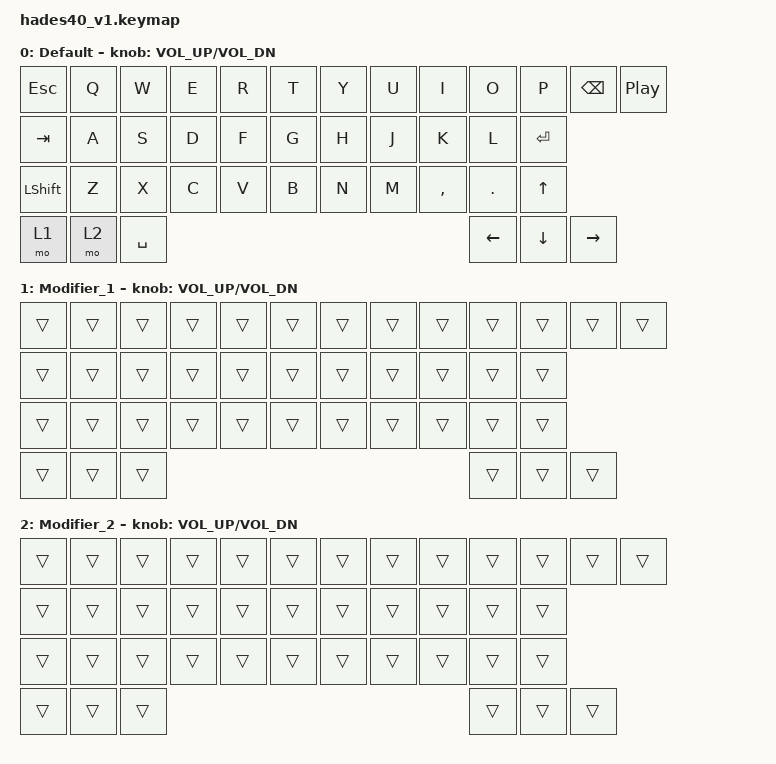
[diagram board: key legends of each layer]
/*
 * Copyright (c) 2020 The ZMK Contributors
 *
 * SPDX-License-Identifier: MIT
 */
/* THIS FILE WAS GENERATED!
 *
 * This file was generated automatically. You may or may not want to
 * edit it directly.
 */

#include <behaviors.dtsi>
#include <dt-bindings/zmk/keys.h>

/ {
    keymap {
        compatible = "zmk,keymap";

        Default {
            bindings = <
   &kp ESC   &kp Q   &kp W   &kp E   &kp R      &kp T   &kp Y   &kp U      &kp I    &kp O      &kp P   &kp BSPC  &kp C_PLAY_PAUSE
   &kp TAB   &kp A   &kp S   &kp D   &kp F      &kp G   &kp H   &kp J      &kp K    &kp L  &kp ENTER
 &kp LSHFT   &kp Z   &kp X   &kp C   &kp V      &kp B   &kp N   &kp M  &kp COMMA  &kp DOT     &kp UP
     &mo 1   &mo 2                          &kp SPACE                   &kp LEFT            &kp DOWN  &kp RIGHT
            >;

            sensor-bindings = <&inc_dec_kp C_VOL_UP C_VOL_DN>;
        };

        Modifier_1 {
            bindings = <
 &trans  &trans  &trans  &trans  &trans  &trans  &trans  &trans  &trans  &trans  &trans  &trans  &trans
 &trans  &trans  &trans  &trans  &trans  &trans  &trans  &trans  &trans  &trans  &trans
 &trans  &trans  &trans  &trans  &trans  &trans  &trans  &trans  &trans  &trans  &trans
 &trans  &trans                          &trans                  &trans          &trans  &trans
            >;

            sensor-bindings = <&inc_dec_kp C_VOL_UP C_VOL_DN>;
        };

        Modifier_2 {
            bindings = <
 &trans  &trans  &trans  &trans  &trans  &trans  &trans  &trans  &trans  &trans  &trans  &trans  &trans
 &trans  &trans  &trans  &trans  &trans  &trans  &trans  &trans  &trans  &trans  &trans
 &trans  &trans  &trans  &trans  &trans  &trans  &trans  &trans  &trans  &trans  &trans
 &trans  &trans                          &trans                  &trans          &trans  &trans
            >;

            sensor-bindings = <&inc_dec_kp C_VOL_UP C_VOL_DN>;
        };
    };
};
